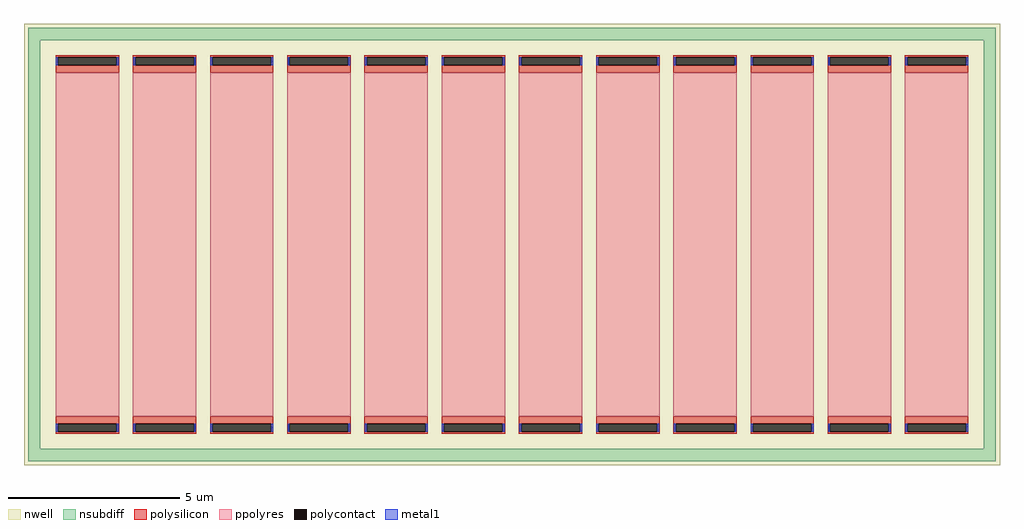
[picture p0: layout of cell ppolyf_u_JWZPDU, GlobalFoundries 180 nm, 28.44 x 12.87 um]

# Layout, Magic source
magic
tech gf180mcuC
magscale 1 10
<< nwell >>
rect -2844 -1287 2844 1287
<< nsubdiff >>
rect -2820 1191 2820 1263
rect -2820 -1191 -2748 1191
rect 2748 -1191 2820 1191
rect -2820 -1263 2820 -1191
<< polysilicon >>
rect -2660 1090 -2290 1103
rect -2660 1044 -2647 1090
rect -2303 1044 -2290 1090
rect -2660 1000 -2290 1044
rect -2660 -1044 -2290 -1000
rect -2660 -1090 -2647 -1044
rect -2303 -1090 -2290 -1044
rect -2660 -1103 -2290 -1090
rect -2210 1090 -1840 1103
rect -2210 1044 -2197 1090
rect -1853 1044 -1840 1090
rect -2210 1000 -1840 1044
rect -2210 -1044 -1840 -1000
rect -2210 -1090 -2197 -1044
rect -1853 -1090 -1840 -1044
rect -2210 -1103 -1840 -1090
rect -1760 1090 -1390 1103
rect -1760 1044 -1747 1090
rect -1403 1044 -1390 1090
rect -1760 1000 -1390 1044
rect -1760 -1044 -1390 -1000
rect -1760 -1090 -1747 -1044
rect -1403 -1090 -1390 -1044
rect -1760 -1103 -1390 -1090
rect -1310 1090 -940 1103
rect -1310 1044 -1297 1090
rect -953 1044 -940 1090
rect -1310 1000 -940 1044
rect -1310 -1044 -940 -1000
rect -1310 -1090 -1297 -1044
rect -953 -1090 -940 -1044
rect -1310 -1103 -940 -1090
rect -860 1090 -490 1103
rect -860 1044 -847 1090
rect -503 1044 -490 1090
rect -860 1000 -490 1044
rect -860 -1044 -490 -1000
rect -860 -1090 -847 -1044
rect -503 -1090 -490 -1044
rect -860 -1103 -490 -1090
rect -410 1090 -40 1103
rect -410 1044 -397 1090
rect -53 1044 -40 1090
rect -410 1000 -40 1044
rect -410 -1044 -40 -1000
rect -410 -1090 -397 -1044
rect -53 -1090 -40 -1044
rect -410 -1103 -40 -1090
rect 40 1090 410 1103
rect 40 1044 53 1090
rect 397 1044 410 1090
rect 40 1000 410 1044
rect 40 -1044 410 -1000
rect 40 -1090 53 -1044
rect 397 -1090 410 -1044
rect 40 -1103 410 -1090
rect 490 1090 860 1103
rect 490 1044 503 1090
rect 847 1044 860 1090
rect 490 1000 860 1044
rect 490 -1044 860 -1000
rect 490 -1090 503 -1044
rect 847 -1090 860 -1044
rect 490 -1103 860 -1090
rect 940 1090 1310 1103
rect 940 1044 953 1090
rect 1297 1044 1310 1090
rect 940 1000 1310 1044
rect 940 -1044 1310 -1000
rect 940 -1090 953 -1044
rect 1297 -1090 1310 -1044
rect 940 -1103 1310 -1090
rect 1390 1090 1760 1103
rect 1390 1044 1403 1090
rect 1747 1044 1760 1090
rect 1390 1000 1760 1044
rect 1390 -1044 1760 -1000
rect 1390 -1090 1403 -1044
rect 1747 -1090 1760 -1044
rect 1390 -1103 1760 -1090
rect 1840 1090 2210 1103
rect 1840 1044 1853 1090
rect 2197 1044 2210 1090
rect 1840 1000 2210 1044
rect 1840 -1044 2210 -1000
rect 1840 -1090 1853 -1044
rect 2197 -1090 2210 -1044
rect 1840 -1103 2210 -1090
rect 2290 1090 2660 1103
rect 2290 1044 2303 1090
rect 2647 1044 2660 1090
rect 2290 1000 2660 1044
rect 2290 -1044 2660 -1000
rect 2290 -1090 2303 -1044
rect 2647 -1090 2660 -1044
rect 2290 -1103 2660 -1090
<< polycontact >>
rect -2647 1044 -2303 1090
rect -2647 -1090 -2303 -1044
rect -2197 1044 -1853 1090
rect -2197 -1090 -1853 -1044
rect -1747 1044 -1403 1090
rect -1747 -1090 -1403 -1044
rect -1297 1044 -953 1090
rect -1297 -1090 -953 -1044
rect -847 1044 -503 1090
rect -847 -1090 -503 -1044
rect -397 1044 -53 1090
rect -397 -1090 -53 -1044
rect 53 1044 397 1090
rect 53 -1090 397 -1044
rect 503 1044 847 1090
rect 503 -1090 847 -1044
rect 953 1044 1297 1090
rect 953 -1090 1297 -1044
rect 1403 1044 1747 1090
rect 1403 -1090 1747 -1044
rect 1853 1044 2197 1090
rect 1853 -1090 2197 -1044
rect 2303 1044 2647 1090
rect 2303 -1090 2647 -1044
<< ppolyres >>
rect -2660 -1000 -2290 1000
rect -2210 -1000 -1840 1000
rect -1760 -1000 -1390 1000
rect -1310 -1000 -940 1000
rect -860 -1000 -490 1000
rect -410 -1000 -40 1000
rect 40 -1000 410 1000
rect 490 -1000 860 1000
rect 940 -1000 1310 1000
rect 1390 -1000 1760 1000
rect 1840 -1000 2210 1000
rect 2290 -1000 2660 1000
<< metal1 >>
rect -2658 1044 -2647 1090
rect -2303 1044 -2292 1090
rect -2208 1044 -2197 1090
rect -1853 1044 -1842 1090
rect -1758 1044 -1747 1090
rect -1403 1044 -1392 1090
rect -1308 1044 -1297 1090
rect -953 1044 -942 1090
rect -858 1044 -847 1090
rect -503 1044 -492 1090
rect -408 1044 -397 1090
rect -53 1044 -42 1090
rect 42 1044 53 1090
rect 397 1044 408 1090
rect 492 1044 503 1090
rect 847 1044 858 1090
rect 942 1044 953 1090
rect 1297 1044 1308 1090
rect 1392 1044 1403 1090
rect 1747 1044 1758 1090
rect 1842 1044 1853 1090
rect 2197 1044 2208 1090
rect 2292 1044 2303 1090
rect 2647 1044 2658 1090
rect -2658 -1090 -2647 -1044
rect -2303 -1090 -2292 -1044
rect -2208 -1090 -2197 -1044
rect -1853 -1090 -1842 -1044
rect -1758 -1090 -1747 -1044
rect -1403 -1090 -1392 -1044
rect -1308 -1090 -1297 -1044
rect -953 -1090 -942 -1044
rect -858 -1090 -847 -1044
rect -503 -1090 -492 -1044
rect -408 -1090 -397 -1044
rect -53 -1090 -42 -1044
rect 42 -1090 53 -1044
rect 397 -1090 408 -1044
rect 492 -1090 503 -1044
rect 847 -1090 858 -1044
rect 942 -1090 953 -1044
rect 1297 -1090 1308 -1044
rect 1392 -1090 1403 -1044
rect 1747 -1090 1758 -1044
rect 1842 -1090 1853 -1044
rect 2197 -1090 2208 -1044
rect 2292 -1090 2303 -1044
rect 2647 -1090 2658 -1044
<< properties >>
string FIXED_BBOX -2784 -1227 2784 1227
string gencell ppolyf_u
string library gf180mcu
string parameters w 1.85 l 9.996 m 1 nx 12 wmin 0.80 lmin 1.00 rho 315 val 1.768k dummy 0 dw 0.07 term 0.0 sterm 0.0 caplen 0.4 snake 0 glc 0 grc 0 gtc 0 gbc 0 roverlap 0 endcov 100 full_metal 0
<< end >>
